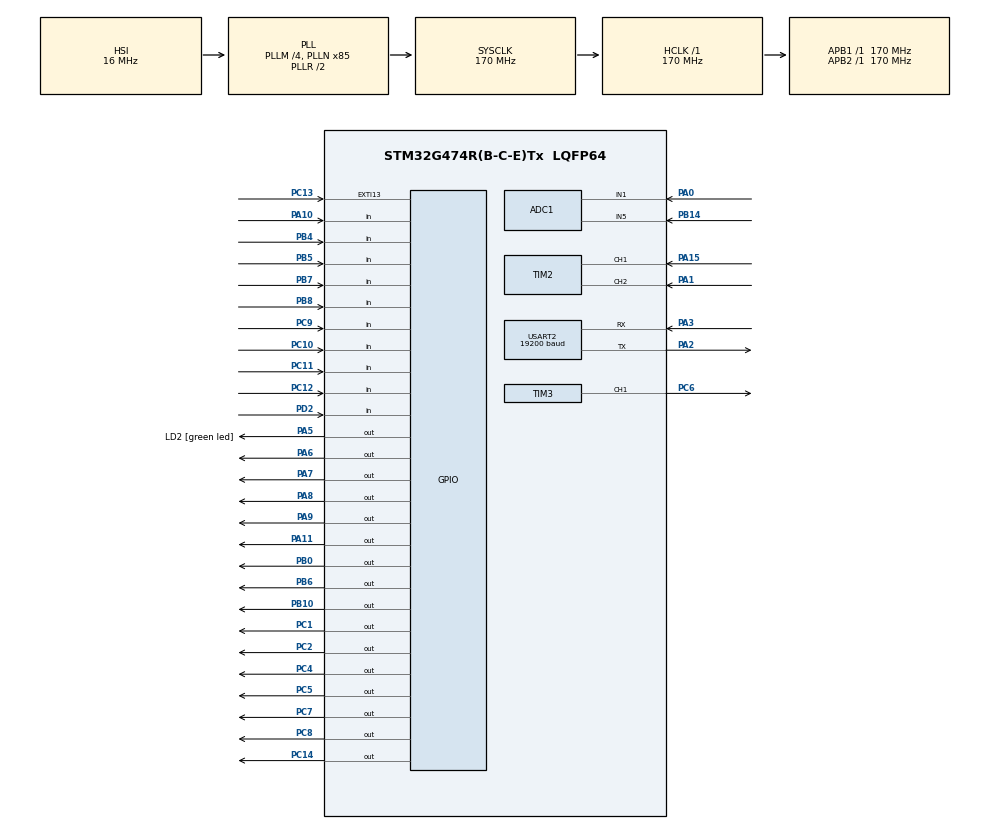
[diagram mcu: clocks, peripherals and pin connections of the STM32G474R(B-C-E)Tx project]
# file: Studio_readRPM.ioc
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ADC1.Channel-0\#ChannelRegularConversion=ADC_CHANNEL_1
ADC1.Channel-1\#ChannelRegularConversion=ADC_CHANNEL_5
ADC1.DMAContinuousRequests=ENABLE
ADC1.ExternalTrigConv=ADC_EXTERNALTRIG_T4_TRGO
ADC1.NbrOfConversion=2
ADC1.NbrOfConversionFlag=1
ADC1.OffsetNumber-0\#ChannelRegularConversion=ADC_OFFSET_NONE
ADC1.OffsetNumber-1\#ChannelRegularConversion=ADC_OFFSET_NONE
ADC1.Rank-0\#ChannelRegularConversion=1
ADC1.Rank-1\#ChannelRegularConversion=2
ADC1.SamplingTime-0\#ChannelRegularConversion=ADC_SAMPLETIME_2CYCLES_5
ADC1.SamplingTime-1\#ChannelRegularConversion=ADC_SAMPLETIME_2CYCLES_5
ADC1.master=1
ARM.CMSIS-DSP.1.15.0.CMSISJjDSP=Source
ARM.CMSIS.6.0.0.CMSISJjCORE=true
Dma.ADC1.0.Direction=DMA_PERIPH_TO_MEMORY
Dma.ADC1.0.EventEnable=DISABLE
Dma.ADC1.0.Instance=DMA2_Channel1
Dma.ADC1.0.MemDataAlignment=DMA_MDATAALIGN_HALFWORD
Dma.ADC1.0.MemInc=DMA_MINC_ENABLE
Dma.ADC1.0.Mode=DMA_CIRCULAR
Dma.ADC1.0.PeriphDataAlignment=DMA_PDATAALIGN_HALFWORD
Dma.ADC1.0.PeriphInc=DMA_PINC_DISABLE
Dma.ADC1.0.Polarity=HAL_DMAMUX_REQ_GEN_RISING
Dma.ADC1.0.Priority=DMA_PRIORITY_LOW
Dma.ADC1.0.RequestNumber=1
Dma.ADC1.0.SignalID=NONE
Dma.ADC1.0.SyncEnable=DISABLE
Dma.ADC1.0.SyncPolarity=HAL_DMAMUX_SYNC_NO_EVENT
Dma.ADC1.0.SyncRequestNumber=1
Dma.ADC1.0.SyncSignalID=NONE
Dma.Request0=ADC1
Dma.Request1=USART2_TX
Dma.Request2=USART2_RX
Dma.USART2_RX.2.Direction=DMA_PERIPH_TO_MEMORY
Dma.USART2_RX.2.EventEnable=DISABLE
Dma.USART2_RX.2.Instance=DMA1_Channel2
Dma.USART2_RX.2.MemDataAlignment=DMA_MDATAALIGN_BYTE
Dma.USART2_RX.2.MemInc=DMA_MINC_ENABLE
Dma.USART2_RX.2.Mode=DMA_NORMAL
Dma.USART2_RX.2.PeriphDataAlignment=DMA_PDATAALIGN_BYTE
Dma.USART2_RX.2.PeriphInc=DMA_PINC_DISABLE
Dma.USART2_RX.2.Polarity=HAL_DMAMUX_REQ_GEN_RISING
Dma.USART2_RX.2.Priority=DMA_PRIORITY_LOW
Dma.USART2_RX.2.RequestNumber=1
Dma.USART2_RX.2.SignalID=NONE
Dma.USART2_RX.2.SyncEnable=DISABLE
Dma.USART2_RX.2.SyncPolarity=HAL_DMAMUX_SYNC_NO_EVENT
Dma.USART2_RX.2.SyncRequestNumber=1
Dma.USART2_RX.2.SyncSignalID=NONE
Dma.USART2_TX.1.Direction=DMA_MEMORY_TO_PERIPH
Dma.USART2_TX.1.EventEnable=DISABLE
Dma.USART2_TX.1.Instance=DMA1_Channel1
Dma.USART2_TX.1.MemDataAlignment=DMA_MDATAALIGN_BYTE
Dma.USART2_TX.1.MemInc=DMA_MINC_ENABLE
Dma.USART2_TX.1.Mode=DMA_NORMAL
Dma.USART2_TX.1.PeriphDataAlignment=DMA_PDATAALIGN_BYTE
Dma.USART2_TX.1.PeriphInc=DMA_PINC_DISABLE
Dma.USART2_TX.1.Polarity=HAL_DMAMUX_REQ_GEN_RISING
Dma.USART2_TX.1.Priority=DMA_PRIORITY_LOW
Dma.USART2_TX.1.RequestNumber=1
Dma.USART2_TX.1.SignalID=NONE
Dma.USART2_TX.1.SyncEnable=DISABLE
Dma.USART2_TX.1.SyncPolarity=HAL_DMAMUX_SYNC_NO_EVENT
Dma.USART2_TX.1.SyncRequestNumber=1
Dma.USART2_TX.1.SyncSignalID=NONE
Mcu.Family=STM32G4
Mcu.Name=STM32G474R(B-C-E)Tx
Mcu.Package=LQFP64
NVIC.DMA1_Channel1_IRQn=true\:0\:0\:false\:false\:true\:false\:true\:true
NVIC.DMA1_Channel2_IRQn=true\:0\:0\:false\:false\:true\:false\:true\:true
NVIC.DMA2_Channel1_IRQn=true\:0\:0\:false\:false\:true\:false\:true\:true
NVIC.EXTI15_10_IRQn=true\:0\:0\:true\:false\:true\:true\:true\:true
NVIC.PriorityGroup=NVIC_PRIORITYGROUP_4
NVIC.TIM1_BRK_TIM15_IRQn=true\:0\:0\:false\:false\:true\:true\:true\:true
NVIC.TIM1_UP_TIM16_IRQn=true\:0\:0\:false\:false\:true\:true\:true\:true
NVIC.TIM5_IRQn=true\:0\:0\:false\:false\:true\:true\:true\:true
NVIC.TIM6_DAC_IRQn=true\:0\:0\:false\:false\:true\:true\:true\:true
NVIC.USART2_IRQn=true\:0\:0\:false\:false\:true\:true\:true\:true
PA0.Mode=IN1-Single-Ended
PA0.Signal=ADC1_IN1
PA1.Signal=S_TIM2_CH2
PA10.Signal=GPIO_Input
PA11.Signal=GPIO_Output
PA13.GPIO_Label=T_SWDIO
PA13.Mode=Trace_Asynchronous_SW
PA13.Signal=SYS_JTMS-SWDIO
PA14.GPIO_Label=T_SWCLK
PA14.Mode=Trace_Asynchronous_SW
PA14.Signal=SYS_JTCK-SWCLK
PA15.Signal=S_TIM2_CH1
PA2.Mode=Asynchronous
PA2.Signal=USART2_TX
PA3.Mode=Asynchronous
PA3.Signal=USART2_RX
PA5.GPIO_Label=LD2 [green led]
PA5.Signal=GPIO_Output
PA6.GPIO_PuPd=GPIO_PULLDOWN
PA6.Signal=GPIO_Output
PA7.Signal=GPIO_Output
PA8.Signal=GPIO_Output
PA9.Signal=GPIO_Output
PB0.Signal=GPIO_Output
PB10.Signal=GPIO_Output
PB14.Mode=IN5-Single-Ended
PB14.Signal=ADC1_IN5
PB3.GPIO_Label=T_SWO
PB3.Mode=Trace_Asynchronous_SW
PB3.Signal=SYS_JTDO-SWO
PB4.GPIO_PuPd=GPIO_PULLUP
PB4.Signal=GPIO_Input
PB5.GPIO_PuPd=GPIO_PULLUP
PB5.Signal=GPIO_Input
PB6.Signal=GPIO_Output
PB7.GPIO_PuPd=GPIO_PULLDOWN
PB7.Signal=GPIO_Input
PB8-BOOT0.Signal=GPIO_Input
PC1.Signal=GPIO_Output
PC10.Signal=GPIO_Input
PC11.GPIO_PuPd=GPIO_PULLDOWN
PC11.Signal=GPIO_Input
PC12.GPIO_PuPd=GPIO_PULLDOWN
PC12.Signal=GPIO_Input
PC13.GPIO_ModeDefaultEXTI=GPIO_MODE_IT_RISING
PC13.Signal=GPXTI13
PC14-OSC32_IN.Signal=GPIO_Output
PC15-OSC32_OUT.Signal=RCC_OSC32_OUT
PC2.Signal=GPIO_Output
PC4.Signal=GPIO_Output
PC5.Signal=GPIO_Output
PC6.Signal=S_TIM3_CH1
PC7.Signal=GPIO_Output
PC8.Signal=GPIO_Output
PC9.Signal=GPIO_Input
PD2.GPIO_PuPd=GPIO_PULLDOWN
PD2.Signal=GPIO_Input
PF0-OSC_IN.Mode=HSE-External-Oscillator
PF0-OSC_IN.Signal=RCC_OSC_IN
PF1-OSC_OUT.Mode=HSE-External-Oscillator
PF1-OSC_OUT.Signal=RCC_OSC_OUT
ProjectManager.HeapSize=0x200
ProjectManager.StackSize=0x400
ProjectManager.TargetToolchain=STM32CubeIDE
RCC.ADC12Freq_Value=170000000
RCC.ADC345Freq_Value=170000000
RCC.AHBFreq_Value=170000000
RCC.APB1Freq_Value=170000000
RCC.APB1TimFreq_Value=170000000
RCC.APB2Freq_Value=170000000
RCC.APB2TimFreq_Value=170000000
RCC.CortexFreq_Value=170000000
RCC.EXTERNAL_CLOCK_VALUE=12288000
RCC.HCLKFreq_Value=170000000
RCC.HSE_VALUE=24000000
RCC.HSI48_VALUE=48000000
RCC.HSI_VALUE=16000000
RCC.LSE_VALUE=32768
RCC.PLLM=RCC_PLLM_DIV4
RCC.PLLN=85
RCC.RTCClockSelection=RCC_RTCCLKSOURCE_LSE
RCC.SYSCLKFreq_VALUE=170000000
RCC.SYSCLKSource=RCC_SYSCLKSOURCE_PLLCLK
RCC.USBFreq_Value=170000000
RCC.VCOOutputFreq_Value=340000000
SH.S_TIM2_CH1.0=TIM2_CH1,Encoder_Interface
SH.S_TIM2_CH2.0=TIM2_CH2,Encoder_Interface
SH.S_TIM3_CH1.0=TIM3_CH1,PWM Generation1 CH1
TIM15.PeriodNoDither=999
TIM15.Prescaler=169
TIM16.Prescaler=0
TIM2.EncoderMode=TIM_ENCODERMODE_TI12
TIM2.IC1Filter=2
TIM3.Channel-PWM\ Generation1\ CH1=TIM_CHANNEL_1
TIM3.PeriodNoDither=999
TIM3.Prescaler=169
TIM3.PulseNoDither_1=500
TIM4.PeriodNoDither=9999
TIM4.Prescaler=169
TIM4.TIM_MasterOutputTrigger=TIM_TRGO_UPDATE
TIM5.Prescaler=169
TIM6.PeriodNoDither=20000
TIM6.Prescaler=1699
USART2.BaudRate=19200
USART2.Parity=PARITY_EVEN
USART2.VirtualMode-Asynchronous=VM_ASYNC
USART2.WordLength=WORDLENGTH_9B
VP_ARM.CMSIS-DSP_VS_CMSISJjDSP_1.15.0_1.15.0.Mode=CMSISJjDSP
VP_ARM.CMSIS_VS_CMSISJjCORE_6.0.0_6.0.0.Mode=CMSISJjCORE
VP_SYS_VS_DBSignals.Mode=DisableDeadBatterySignals
VP_TIM15_VS_ClockSourceINT.Mode=Internal
VP_TIM16_VS_ClockSourceINT.Mode=Enable_Timer
VP_TIM16_VS_OPM.Mode=OPM_bit
VP_TIM3_VS_ClockSourceINT.Mode=Internal
VP_TIM4_VS_ClockSourceINT.Mode=Internal
VP_TIM5_VS_ClockSourceINT.Mode=Internal
VP_TIM6_VS_ClockSourceINT.Mode=Enable_Timer
board=NUCLEO-G474RE

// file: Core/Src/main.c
/* USER CODE BEGIN Header */
/**
  ******************************************************************************
  * @file           : main.c
  * @brief          : Main program body
  ******************************************************************************
  * @attention
  *
  * Copyright (c) 2024 STMicroelectronics.
  * All rights reserved.
  *
  * This software is licensed under terms that can be found in the LICENSE file
  * in the root directory of this software component.
  * If no LICENSE file comes with this software, it is provided AS-IS.
  *
  ******************************************************************************
  */
/* USER CODE END Header */
#include "main.h"

/* USER CODE BEGIN Includes */
#include "arm_math.h"
#include "ModBusRTU.h"
#include "kalman_filter.h"
/* USER CODE END Includes */

ADC_HandleTypeDef hadc1;
DMA_HandleTypeDef hdma_adc1;

TIM_HandleTypeDef htim2;
TIM_HandleTypeDef htim3;
TIM_HandleTypeDef htim4;
TIM_HandleTypeDef htim5;
TIM_HandleTypeDef htim6;
TIM_HandleTypeDef htim15;
TIM_HandleTypeDef htim16;

UART_HandleTypeDef huart2;
DMA_HandleTypeDef hdma_usart2_tx;
DMA_HandleTypeDef hdma_usart2_rx;

/* USER CODE BEGIN PV */

//-----------------Encoder Feedback-------------------//
uint32_t QEIReadRaw;

typedef struct
{
	// for record New / Old value to calculate dx / dt
	uint32_t Position[2];
	uint64_t TimeStamp[2];
	float QEIPostion_1turn;
	float QEIAngularVelocity;
	float rad_s;
	float rpm;
	float linearPos;
	float linearVel;
	float Velocity[2];
	float linearAcc;
}QEI_StructureTypeDef;

QEI_StructureTypeDef QEIdata = {0};
//---------------------------------------------------//

//Timer
uint64_t _micros = 0;

enum
{
	NEW,OLD
};

//Read joystick manual mode
uint16_t ADCBuffer[2];
float x_position;
float temp_x=0;
float set_manual_point = 0;
uint8_t check_up = 0;
uint8_t check_down = 0;

//mode control
uint8_t mode = 4;
uint8_t mode_savestate = 4;
uint64_t start_IT = 0;

//PWM
float Vin = 0;
float Vin_old = 0;
float Vin_force = 0;
float duty_cycle = 50;

//--------------Trajectory-------------------//
//Define
float q_d_i = 0;
float q_d_max = 570; //Maximum velocity
float q_2d_max = 600; //Maximum acc
//init
float q_f = 0;
float q_i = 0;
float delta_q = 0;
//output trajectory
float ref_p = 0;
float ref_v = 0;
float ref_a = 0;
//other parameters
uint8_t calmode = 3; //stop mode
float q_f_old = 0;
float t_acc = 0;
float q_acc = 0;
float t_const = 0;
float q_const = 0;
float q_d_acc = 0;
uint64_t T_start = 0;
float t = 0;
int dir = 1;
float total_t = 0;
//---------------------------------------------//

//------------------Manual Button--------------//
//Button
uint8_t B_up = 0;
uint8_t B_down = 0;
uint8_t B_reset = 0;
uint8_t B_save = 0;
uint8_t emergency_reset = 0;

uint8_t count_save = 0;
float shelves_pos[6] = {0};
float last_shelf_save = 0;
//-------------------------------------------//

//PID
arm_pid_instance_f32 PID1 = {0}; //Control Position
arm_pid_instance_f32 PID2 = {0}; //Control Velocity
float setPosition = 0;
float setVelocity = 0;
float max_velo = 0;
float max_acc = 0;

//Sensor
int S_top = 0;
int S_down = 0;
int S_top_savestate = 0;
int S_down_savestate = 0;

int check_state_B= 0;
//------------------MODBUS-----------------------//
ModbusHandleTypedef hmodbus;
u16u8_t registerFrame[200];

//maunualadd
int check  = 0;
int check2  = 0;
int vaccum_status = 0;
int gripper_status = 0;
int check_state  = 0;

// set shelf
int Enter_click = 0;
int set_shelf_state = 0;
//set point
float set_point_modbus = 0;
int point_state_triger = 0;
int set_point_state = 0;
// set home
int set_Home_state = 0;
int Home_state_triger = 0;
//run jog
int PickOrder = 0;
int PlaceOrder = 0;
int set_jog_state = 0;
int PickArray[5] = {0};
int PlaceArray[5] = {0};

int Moving_status = 0;
int Jog_state_triger = 0;
int Jog_order = 0;
int Jog_oneloop_trigger = 0;
//---------------------------------------------//
// Noise filter
uint64_t timestamp_savestate = 0;
int64_t prev_vac_savestate = 0;
int64_t prev_grp_savestate = 0;
uint8_t trigger_savestate = 0;
int check_noise = 0;
int64_t currentTime = 0;

//-----------------Kalman_filter----------------//
// Define matrix data for Kalman filter
float32_t dt = 0.001; // 1,000 Hz
float32_t A_data[9] = {1, 0.001, 0.0000005, 0, 1, 0.001, 0, 0, 1};
float32_t B_data[3] = {0, 0, 0};
float32_t C_data[3] = {1, 0, 0};
float32_t G_data[3] = {0.0000001667, 0.0000005, 0.001};
float32_t Q_data[1] = {1}; //3
float32_t R_data[1] = {9}; //7
float32_t P_data[9] = {1, 0, 0, 0, 1, 0, 0, 0, 1};
float32_t x_data[3] = {0, 0, 0};
float32_t K_data[3]; // Kalman gain data
float32_t S_data[1]; // Innovation covariance data
float32_t temp1_data[9], temp2_data[9], temp3_data[3], temp4_data[1], temp5_data[3], temp6_data[9];

float32_t estimated_state[3];

// Create Kalman filter instance
KalmanFilter kf;

// Define control input and process noise
float32_t u_data[1] = {0};
float32_t w_data[1] = {0.207}; // Example noise, should be random in practice

//----------------------------------------------//
uint8_t emerStatus = 0;

int count_check = 0;

int check_LED = 0;

float overshootTop = 0;
float overshootDown = 600;

//Emer
uint8_t Emer_count = 0;
uint64_t Emer_timestamp = 0;

/* USER CODE END PV */

void SystemClock_Config(void);
static void MX_GPIO_Init(void);
static void MX_DMA_Init(void);
static void MX_TIM3_Init(void);
static void MX_TIM2_Init(void);
static void MX_TIM5_Init(void);
static void MX_ADC1_Init(void);
static void MX_TIM4_Init(void);
static void MX_TIM6_Init(void);
static void MX_TIM16_Init(void);
static void MX_USART2_UART_Init(void);
static void MX_TIM15_Init(void);
/* USER CODE BEGIN PFP */
uint64_t micros();
void QEIEncoderPosVel_Update();
void checkStartMoving();
void createTrajectory();
void DriveMotor();
void JoystickInput();
void button_up_down_input();
void button_reset_input();
void SoftwareLimit();

void check_vaccum_status();
void check_gripper_status();
void set_shelf();
void Pointmode();
void Home();
void Run_jog();
void Heartbeat();
void Routine();
void button_save_position();

void LED_Emergency();
void LED_Homing();
void LED_Ready();
void LED_Auto();
void LED_Manual();

void checkEmer();
/* USER CODE END PFP */

int main(void)
{

  /* MCU Configuration--------------------------------------------------------*/

  /* Reset of all peripherals, Initializes the Flash interface and the Systick. */
  HAL_Init();

  /* Configure the system clock */
  SystemClock_Config();

  /* Initialize all configured peripherals */
  MX_GPIO_Init();
  MX_DMA_Init();
  MX_TIM3_Init();
  MX_TIM2_Init();
  MX_TIM5_Init();
  MX_ADC1_Init();
  MX_TIM4_Init();
  MX_TIM6_Init();
  MX_TIM16_Init();
  MX_USART2_UART_Init();
  MX_TIM15_Init();
  /* USER CODE BEGIN 2 */

  //PWM Motor
  HAL_TIM_Base_Start(&htim3);
  HAL_TIM_PWM_Start(&htim3, TIM_CHANNEL_1);
  __HAL_TIM_SET_COMPARE(&htim3, TIM_CHANNEL_1, 0);

  //Read Encoder
  HAL_TIM_Encoder_Start(&htim2,TIM_CHANNEL_ALL);

  //time microsec
  HAL_TIM_Base_Start_IT(&htim5);

  //Read joystick
  HAL_ADC_Start_DMA(&hadc1, ADCBuffer, 2);
  HAL_TIM_Base_Start(&htim4);

  //PID Control Position
  PID1.Kp = 3.75; // 7.5
  PID1.Ki = 0; // 0.0025
  PID1.Kd = 0;
//  PID1.Ki = 0.000025; // 0.0025
//  PID1.Kd = 0.005; // 3
  arm_pid_init_f32(&PID1, 0);

  //PID Control Velocity
  PID2.Kp = 0.1; //0.3
  PID2.Ki = 0.0005; // 0.0005
  PID2.Kd = 0; // 0
  arm_pid_init_f32(&PID2, 0);

  //Modbus Setting
  // manaul add
  HAL_TIM_Base_Start_IT(&htim6);

  //  modbus
  hmodbus.huart = &huart2;
  hmodbus.htim = &htim16;
  hmodbus.slaveAddress = 0x15;
  hmodbus.RegisterSize =200;
  Modbus_init(&hmodbus, registerFrame);

  HAL_GPIO_WritePin(GPIOB, GPIO_PIN_10, 1);

  //-----Kalman filter--------//
  // Initialize the Kalman filter
  KalmanFilter_Init(&kf, A_data, B_data, C_data, G_data, Q_data, R_data, P_data, x_data, K_data, temp1_data, temp2_data, temp3_data, temp4_data, temp5_data, temp6_data, S_data);

  // Update Kalman every 0.001 s (1,000 Hz)
  HAL_TIM_Base_Start_IT(&htim15);

  LED_Ready();

  /* USER CODE END 2 */

  /* Infinite loop */
  while (1)
  {

    /* USER CODE BEGIN 3 */
	  count_check += 1;

	  //------Modbus Function------//

	  Modbus_Protocal_Worker();
	  check_vaccum_status();
	  check_gripper_status();
	  set_shelf();
	  Pointmode();
	  Home();
	  Run_jog();

//	  if(check_LED == 1){
//		  LED_Emergency();
//	  }
//	  else if(check_LED == 2){
//		  LED_Homing();
//	  }
//	  else if(check_LED == 3){
//		  LED_Ready();
//	  }
//	  else if(check_LED == 4){
//		  LED_Auto();
//	  }
//	  else if(check_LED == 5){
//		  LED_Manual();
//	  }

	  static uint64_t timestamp = 0;
	  static uint64_t timestamp2 = 0;
	  static uint64_t timestamp3 = 0;

	  currentTime = micros();

	  if(currentTime > timestamp2){
		  timestamp2 = currentTime + 167; //6,000 Hz

		  //Read encoder
		  QEIEncoderPosVel_Update();

		  //Create Trajectory
		  q_f = setPosition;
		  checkStartMoving();
		  createTrajectory();

		  if(mode == 1){
			  LED_Auto();
			  if(fabs(setPosition - QEIdata.linearPos) <= 0.09 || setPosition == 0){
				  Vin = 0;
//				  mode = 3;
//				  point_state_triger = 1;
//				  if (setPosition != 0)
//				  {
//					  mode = 3;
//				  }

			  }
//			  else if(setPosition - QEIdata.linearPos <= 5 && setPosition - QEIdata.linearPos > 0.1){
//				  Vin = 2.5;
//				  check = 1;
//			  }
//			  else if(setPosition - QEIdata.linearPos >= -5 && setPosition - QEIdata.linearPos < -0.1){
//			  	  Vin = -1.35;
//			  	  check = -1;
//			  }
			  else{
				  Vin = arm_pid_f32(&PID2, (setVelocity + ref_v)/2 - QEIdata.linearVel);
//				  Vin = arm_pid_f32(&PID2, ref_v - QEIdata.linearVel);
			  }
			  if(Vin > 24){
	  			  Vin = 24;
			  }
			  if(Vin < -24){
				  Vin = -24;
			  }
		  }
	      else if(mode == 2){ //manual (control with joy stick)
			  JoystickInput();
			  button_up_down_input();
			  button_reset_input(); //set 0;
			  button_save_position();
		  }
		  else if(mode == 3){ //stop mode
			  Vin = Vin_force;

//			  if(QEIdata.linearPos >= 40){
//				  Vin = 0;
//			  }
		  }
		  else if(mode == 4){ //Emergency mode
			  Vin = 0;
			  //LED_Emergency();

			  if(HAL_GPIO_ReadPin(GPIOD, GPIO_PIN_2) == 1){
				  mode = 2;
				  emergency_reset = 1;
			  }
		  }

		  if(mode == 1){
			  if(QEIdata.linearPos < -0.5 || QEIdata.linearPos > 550){
				  Vin = 0;
			  }
		  }
		  else{
			  //software limit
			  SoftwareLimit();
		  }

		  //Drive Motor which PWM
		  DriveMotor();

	  }

	  if(currentTime > timestamp){
		  timestamp = currentTime + 4000; //250 Hz

		  //control mode
		  if(mode == 1){ //auto
			  LED_Auto();
			  if(fabs(setPosition - QEIdata.linearPos) <= 0.1 || setPosition == 0){
				  Vin = 0;
//				  mode = 3;
//				  point_state_triger = 1;
//				  if (setPosition != 0)
//				  {
//					  mode = 3;
//				  }
			  }
//			  else if(setPosition - QEIdata.linearPos <= 5 && setPosition - QEIdata.linearPos > 0.1){
//				  Vin = 2.575;
//				  check = 1;
//			  }
//			  else if(setPosition - QEIdata.linearPos >= -5 && setPosition - QEIdata.linearPos < -0.1){
//				  Vin = -1.5;
//				  check = -1;
//			  }
			  else{
				  setVelocity = arm_pid_f32(&PID1, (setPosition + ref_p)/2 - QEIdata.linearPos);
				  Vin = arm_pid_f32(&PID2, (setVelocity + ref_v)/2 + QEIdata.linearVel);
//				  Vin = arm_pid_f32(&PID2, ref_v - QEIdata.linearVel);
			  }

			  if(Vin > 24){
				  Vin = 24;
			  }
			  if(Vin < -24){
				  Vin = -24;
			  }

			  if(QEIdata.linearPos < -0.5 || QEIdata.linearPos > 450){
			 	  Vin = 0;
			  }

			  //Drive Motor which PWM
			  DriveMotor();
		  }

	  }

//	  if((currentTime > timestamp_savestate)&& (trigger_savestate == 1)){
//		   S_top = S_top_savestate;
//		   S_down = S_down_savestate;
//		   mode = mode_savestate;
//		   trigger_savestate = 0;
//		   check_noise += 1;
//	  }

	  //Check Emergency Status

	  checkEmer();

	  if(currentTime > timestamp3){
		  timestamp3 = currentTime + 100000; //10 Hz
		  if(HAL_GPIO_ReadPin(GPIOB, GPIO_PIN_8) == 1){
			  S_top = 1;
		  }
		  else if(HAL_GPIO_ReadPin(GPIOC, GPIO_PIN_9) == 1){
			  S_down = 1;

		  }
	  }

  }

  /* USER CODE END 3 */
}

void SystemClock_Config(void)
{
  RCC_OscInitTypeDef RCC_OscInitStruct = {0};
  RCC_ClkInitTypeDef RCC_ClkInitStruct = {0};

  /** Configure the main internal regulator output voltage
  */
  HAL_PWREx_ControlVoltageScaling(PWR_REGULATOR_VOLTAGE_SCALE1_BOOST);

  /** Initializes the RCC Oscillators according to the specified parameters
  * in the RCC_OscInitTypeDef structure.
  */
  RCC_OscInitStruct.OscillatorType = RCC_OSCILLATORTYPE_HSI;
  RCC_OscInitStruct.HSIState = RCC_HSI_ON;
  RCC_OscInitStruct.HSICalibrationValue = RCC_HSICALIBRATION_DEFAULT;
  RCC_OscInitStruct.PLL.PLLState = RCC_PLL_ON;
  RCC_OscInitStruct.PLL.PLLSource = RCC_PLLSOURCE_HSI;
  RCC_OscInitStruct.PLL.PLLM = RCC_PLLM_DIV4;
  RCC_OscInitStruct.PLL.PLLN = 85;
  RCC_OscInitStruct.PLL.PLLP = RCC_PLLP_DIV2;
  RCC_OscInitStruct.PLL.PLLQ = RCC_PLLQ_DIV2;
  RCC_OscInitStruct.PLL.PLLR = RCC_PLLR_DIV2;
  if (HAL_RCC_OscConfig(&RCC_OscInitStruct) != HAL_OK)
  {
    Error_Handler();
  }

  /** Initializes the CPU, AHB and APB buses clocks
  */
  RCC_ClkInitStruct.ClockType = RCC_CLOCKTYPE_HCLK|RCC_CLOCKTYPE_SYSCLK
                              |RCC_CLOCKTYPE_PCLK1|RCC_CLOCKTYPE_PCLK2;
  RCC_ClkInitStruct.SYSCLKSource = RCC_SYSCLKSOURCE_PLLCLK;
  RCC_ClkInitStruct.AHBCLKDivider = RCC_SYSCLK_DIV1;
  RCC_ClkInitStruct.APB1CLKDivider = RCC_HCLK_DIV1;
  RCC_ClkInitStruct.APB2CLKDivider = RCC_HCLK_DIV1;

  if (HAL_RCC_ClockConfig(&RCC_ClkInitStruct, FLASH_LATENCY_4) != HAL_OK)
  {
    Error_Handler();
  }
}

static void MX_ADC1_Init(void)
{

  ADC_MultiModeTypeDef multimode = {0};
  ADC_ChannelConfTypeDef sConfig = {0};

  /** Common config
  */
  hadc1.Instance = ADC1;
  hadc1.Init.ClockPrescaler = ADC_CLOCK_SYNC_PCLK_DIV4;
  hadc1.Init.Resolution = ADC_RESOLUTION_12B;
  hadc1.Init.DataAlign = ADC_DATAALIGN_RIGHT;
  hadc1.Init.GainCompensation = 0;
  hadc1.Init.ScanConvMode = ADC_SCAN_ENABLE;
  hadc1.Init.EOCSelection = ADC_EOC_SINGLE_CONV;
  hadc1.Init.LowPowerAutoWait = DISABLE;
  hadc1.Init.ContinuousConvMode = DISABLE;
  hadc1.Init.NbrOfConversion = 2;
  hadc1.Init.DiscontinuousConvMode = DISABLE;
  hadc1.Init.ExternalTrigConv = ADC_EXTERNALTRIG_T4_TRGO;
  hadc1.Init.ExternalTrigConvEdge = ADC_EXTERNALTRIGCONVEDGE_RISING;
  hadc1.Init.DMAContinuousRequests = ENABLE;
  hadc1.Init.Overrun = ADC_OVR_DATA_PRESERVED;
  hadc1.Init.OversamplingMode = DISABLE;
  if (HAL_ADC_Init(&hadc1) != HAL_OK)
  {
    Error_Handler();
  }

  /** Configure the ADC multi-mode
  */
  multimode.Mode = ADC_MODE_INDEPENDENT;
  if (HAL_ADCEx_MultiModeConfigChannel(&hadc1, &multimode) != HAL_OK)
  {
    Error_Handler();
  }

  /** Configure Regular Channel
  */
  sConfig.Channel = ADC_CHANNEL_1;
  sConfig.Rank = ADC_REGULAR_RANK_1;
  sConfig.SamplingTime = ADC_SAMPLETIME_2CYCLES_5;
  sConfig.SingleDiff = ADC_SINGLE_ENDED;
  sConfig.OffsetNumber = ADC_OFFSET_NONE;
  sConfig.Offset = 0;
  if (HAL_ADC_ConfigChannel(&hadc1, &sConfig) != HAL_OK)
  {
    Error_Handler();
  }

  /** Configure Regular Channel
  */
  sConfig.Channel = ADC_CHANNEL_5;
  sConfig.Rank = ADC_REGULAR_RANK_2;
  if (HAL_ADC_ConfigChannel(&hadc1, &sConfig) != HAL_OK)
  {
    Error_Handler();
  }

}

static void MX_TIM2_Init(void)
{

  TIM_Encoder_InitTypeDef sConfig = {0};
  TIM_MasterConfigTypeDef sMasterConfig = {0};

  htim2.Instance = TIM2;
  htim2.Init.Prescaler = 0;
  htim2.Init.CounterMode = TIM_COUNTERMODE_UP;
  htim2.Init.Period = 4294967295;
  htim2.Init.ClockDivision = TIM_CLOCKDIVISION_DIV1;
  htim2.Init.AutoReloadPreload = TIM_AUTORELOAD_PRELOAD_DISABLE;
  sConfig.EncoderMode = TIM_ENCODERMODE_TI12;
  sConfig.IC1Polarity = TIM_ICPOLARITY_RISING;
  sConfig.IC1Selection = TIM_ICSELECTION_DIRECTTI;
  sConfig.IC1Prescaler = TIM_ICPSC_DIV1;
  sConfig.IC1Filter = 2;
  sConfig.IC2Polarity = TIM_ICPOLARITY_RISING;
  sConfig.IC2Selection = TIM_ICSELECTION_DIRECTTI;
  sConfig.IC2Prescaler = TIM_ICPSC_DIV1;
  sConfig.IC2Filter = 0;
  if (HAL_TIM_Encoder_Init(&htim2, &sConfig) != HAL_OK)
  {
    Error_Handler();
  }
  sMasterConfig.MasterOutputTrigger = TIM_TRGO_RESET;
  sMasterConfig.MasterSlaveMode = TIM_MASTERSLAVEMODE_DISABLE;
  if (HAL_TIMEx_MasterConfigSynchronization(&htim2, &sMasterConfig) != HAL_OK)
  {
    Error_Handler();
  }

}

static void MX_TIM3_Init(void)
{

  TIM_ClockConfigTypeDef sClockSourceConfig = {0};
  TIM_MasterConfigTypeDef sMasterConfig = {0};
  TIM_OC_InitTypeDef sConfigOC = {0};

  htim3.Instance = TIM3;
  htim3.Init.Prescaler = 169;
  htim3.Init.CounterMode = TIM_COUNTERMODE_UP;
  htim3.Init.Period = 999;
  htim3.Init.ClockDivision = TIM_CLOCKDIVISION_DIV1;
  htim3.Init.AutoReloadPreload = TIM_AUTORELOAD_PRELOAD_DISABLE;
  if (HAL_TIM_Base_Init(&htim3) != HAL_OK)
  {
    Error_Handler();
  }
  sClockSourceConfig.ClockSource = TIM_CLOCKSOURCE_INTERNAL;
  if (HAL_TIM_ConfigClockSource(&htim3, &sClockSourceConfig) != HAL_OK)
  {
    Error_Handler();
  }
  if (HAL_TIM_PWM_Init(&htim3) != HAL_OK)
  {
    Error_Handler();
  }
  sMasterConfig.MasterOutputTrigger = TIM_TRGO_RESET;
  sMasterConfig.MasterSlaveMode = TIM_MASTERSLAVEMODE_DISABLE;
  if (HAL_TIMEx_MasterConfigSynchronization(&htim3, &sMasterConfig) != HAL_OK)
  {
    Error_Handler();
  }
  sConfigOC.OCMode = TIM_OCMODE_PWM1;
  sConfigOC.Pulse = 500;
  sConfigOC.OCPolarity = TIM_OCPOLARITY_HIGH;
  sConfigOC.OCFastMode = TIM_OCFAST_DISABLE;
  if (HAL_TIM_PWM_ConfigChannel(&htim3, &sConfigOC, TIM_CHANNEL_1) != HAL_OK)
  {
    Error_Handler();
  }
  HAL_TIM_MspPostInit(&htim3);

}

static void MX_TIM4_Init(void)
{

  TIM_ClockConfigTypeDef sClockSourceConfig = {0};
  TIM_MasterConfigTypeDef sMasterConfig = {0};

  htim4.Instance = TIM4;
  htim4.Init.Prescaler = 169;
  htim4.Init.CounterMode = TIM_COUNTERMODE_UP;
  htim4.Init.Period = 9999;
  htim4.Init.ClockDivision = TIM_CLOCKDIVISION_DIV1;
  htim4.Init.AutoReloadPreload = TIM_AUTORELOAD_PRELOAD_DISABLE;
  if (HAL_TIM_Base_Init(&htim4) != HAL_OK)
  {
    Error_Handler();
  }
  sClockSourceConfig.ClockSource = TIM_CLOCKSOURCE_INTERNAL;
  if (HAL_TIM_ConfigClockSource(&htim4, &sClockSourceConfig) != HAL_OK)
  {
    Error_Handler();
  }
  sMasterConfig.MasterOutputTrigger = TIM_TRGO_UPDATE;
  sMasterConfig.MasterSlaveMode = TIM_MASTERSLAVEMODE_DISABLE;
  if (HAL_TIMEx_MasterConfigSynchronization(&htim4, &sMasterConfig) != HAL_OK)
  {
    Error_Handler();
  }

}

static void MX_TIM5_Init(void)
{

  TIM_ClockConfigTypeDef sClockSourceConfig = {0};
  TIM_MasterConfigTypeDef sMasterConfig = {0};

  htim5.Instance = TIM5;
  htim5.Init.Prescaler = 169;
  htim5.Init.CounterMode = TIM_COUNTERMODE_UP;
  htim5.Init.Period = 4294967295;
  htim5.Init.ClockDivision = TIM_CLOCKDIVISION_DIV1;
  htim5.Init.AutoReloadPreload = TIM_AUTORELOAD_PRELOAD_DISABLE;
  if (HAL_TIM_Base_Init(&htim5) != HAL_OK)
  {
    Error_Handler();
  }
  sClockSourceConfig.ClockSource = TIM_CLOCKSOURCE_INTERNAL;
  if (HAL_TIM_ConfigClockSource(&htim5, &sClockSourceConfig) != HAL_OK)
  {
    Error_Handler();
  }
  sMasterConfig.MasterOutputTrigger = TIM_TRGO_RESET;
  sMasterConfig.MasterSlaveMode = TIM_MASTERSLAVEMODE_DISABLE;
  if (HAL_TIMEx_MasterConfigSynchronization(&htim5, &sMasterConfig) != HAL_OK)
  {
    Error_Handler();
  }

}

static void MX_TIM6_Init(void)
{

  TIM_MasterConfigTypeDef sMasterConfig = {0};

  htim6.Instance = TIM6;
  htim6.Init.Prescaler = 1699;
  htim6.Init.CounterMode = TIM_COUNTERMODE_UP;
  htim6.Init.Period = 20000;
  htim6.Init.AutoReloadPreload = TIM_AUTORELOAD_PRELOAD_DISABLE;
  if (HAL_TIM_Base_Init(&htim6) != HAL_OK)
  {
    Error_Handler();
  }
  sMasterConfig.MasterOutputTrigger = TIM_TRGO_RESET;
  sMasterConfig.MasterSlaveMode = TIM_MASTERSLAVEMODE_DISABLE;
  if (HAL_TIMEx_MasterConfigSynchronization(&htim6, &sMasterConfig) != HAL_OK)
  {
    Error_Handler();
  }

}

static void MX_TIM15_Init(void)
{

  TIM_ClockConfigTypeDef sClockSourceConfig = {0};
  TIM_MasterConfigTypeDef sMasterConfig = {0};

  htim15.Instance = TIM15;
  htim15.Init.Prescaler = 169;
  htim15.Init.CounterMode = TIM_COUNTERMODE_UP;
  htim15.Init.Period = 999;
  htim15.Init.ClockDivision = TIM_CLOCKDIVISION_DIV1;
  htim15.Init.RepetitionCounter = 0;
  htim15.Init.AutoReloadPreload = TIM_AUTORELOAD_PRELOAD_DISABLE;
  if (HAL_TIM_Base_Init(&htim15) != HAL_OK)
  {
    Error_Handler();
  }
  sClockSourceConfig.ClockSource = TIM_CLOCKSOURCE_INTERNAL;
  if (HAL_TIM_ConfigClockSource(&htim15, &sClockSourceConfig) != HAL_OK)
  {
    Error_Handler();
  }
  sMasterConfig.MasterOutputTrigger = TIM_TRGO_RESET;
  sMasterConfig.MasterSlaveMode = TIM_MASTERSLAVEMODE_DISABLE;
  if (HAL_TIMEx_MasterConfigSynchronization(&htim15, &sMasterConfig) != HAL_OK)
  {
    Error_Handler();
  }

}

static void MX_TIM16_Init(void)
{

  htim16.Instance = TIM16;
  htim16.Init.Prescaler = 0;
  htim16.Init.CounterMode = TIM_COUNTERMODE_UP;
  htim16.Init.Period = 65535;
  htim16.Init.ClockDivision = TIM_CLOCKDIVISION_DIV1;
  htim16.Init.RepetitionCounter = 0;
  htim16.Init.AutoReloadPreload = TIM_AUTORELOAD_PRELOAD_DISABLE;
  if (HAL_TIM_Base_Init(&htim16) != HAL_OK)
  {
    Error_Handler();
  }
  if (HAL_TIM_OnePulse_Init(&htim16, TIM_OPMODE_SINGLE) != HAL_OK)
  {
    Error_Handler();
  }

}

static void MX_USART2_UART_Init(void)
{

  huart2.Instance = USART2;
  huart2.Init.BaudRate = 19200;
  huart2.Init.WordLength = UART_WORDLENGTH_9B;
  huart2.Init.StopBits = UART_STOPBITS_1;
  huart2.Init.Parity = UART_PARITY_EVEN;
  huart2.Init.Mode = UART_MODE_TX_RX;
  huart2.Init.HwFlowCtl = UART_HWCONTROL_NONE;
  huart2.Init.OverSampling = UART_OVERSAMPLING_16;
  huart2.Init.OneBitSampling = UART_ONE_BIT_SAMPLE_DISABLE;
  huart2.Init.ClockPrescaler = UART_PRESCALER_DIV1;
  huart2.AdvancedInit.AdvFeatureInit = UART_ADVFEATURE_NO_INIT;
  if (HAL_UART_Init(&huart2) != HAL_OK)
  {
    Error_Handler();
  }
  if (HAL_UARTEx_SetTxFifoThreshold(&huart2, UART_TXFIFO_THRESHOLD_1_8) != HAL_OK)
  {
    Error_Handler();
  }
  if (HAL_UARTEx_SetRxFifoThreshold(&huart2, UART_RXFIFO_THRESHOLD_1_8) != HAL_OK)
  {
    Error_Handler();
  }
  if (HAL_UARTEx_DisableFifoMode(&huart2) != HAL_OK)
  {
    Error_Handler();
  }

}

static void MX_DMA_Init(void)
{

  /* DMA controller clock enable */
  __HAL_RCC_DMAMUX1_CLK_ENABLE();
  __HAL_RCC_DMA2_CLK_ENABLE();
  __HAL_RCC_DMA1_CLK_ENABLE();

  /* DMA interrupt init */
  /* DMA1_Channel1_IRQn interrupt configuration */
  HAL_NVIC_SetPriority(DMA1_Channel1_IRQn, 0, 0);
  HAL_NVIC_EnableIRQ(DMA1_Channel1_IRQn);
  /* DMA1_Channel2_IRQn interrupt configuration */
  HAL_NVIC_SetPriority(DMA1_Channel2_IRQn, 0, 0);
  HAL_NVIC_EnableIRQ(DMA1_Channel2_IRQn);
  /* DMA2_Channel1_IRQn interrupt configuration */
  HAL_NVIC_SetPriority(DMA2_Channel1_IRQn, 0, 0);
  HAL_NVIC_EnableIRQ(DMA2_Channel1_IRQn);

}

static void MX_GPIO_Init(void)
{
  GPIO_InitTypeDef GPIO_InitStruct = {0};

  /* GPIO Ports Clock Enable */
  __HAL_RCC_GPIOC_CLK_ENABLE();
  __HAL_RCC_GPIOF_CLK_ENABLE();
  __HAL_RCC_GPIOA_CLK_ENABLE();
  __HAL_RCC_GPIOB_CLK_ENABLE();
  __HAL_RCC_GPIOD_CLK_ENABLE();

  /*Configure GPIO pin Output Level */
  HAL_GPIO_WritePin(GPIOC, GPIO_PIN_14|GPIO_PIN_1|GPIO_PIN_2|GPIO_PIN_4
                          |GPIO_PIN_5|GPIO_PIN_7|GPIO_PIN_8, GPIO_PIN_RESET);

  /*Configure GPIO pin Output Level */
  HAL_GPIO_WritePin(GPIOA, LD2_Pin|GPIO_PIN_6|GPIO_PIN_7|GPIO_PIN_8
                          |GPIO_PIN_9|GPIO_PIN_11, GPIO_PIN_RESET);

  /*Configure GPIO pin Output Level */
  HAL_GPIO_WritePin(GPIOB, GPIO_PIN_0|GPIO_PIN_10|GPIO_PIN_6, GPIO_PIN_RESET);

  /*Configure GPIO pin : PC13 */
  GPIO_InitStruct.Pin = GPIO_PIN_13;
  GPIO_InitStruct.Mode = GPIO_MODE_IT_RISING;
  GPIO_InitStruct.Pull = GPIO_NOPULL;
  HAL_GPIO_Init(GPIOC, &GPIO_InitStruct);

  /*Configure GPIO pins : PC14 PC1 PC2 PC4
                           PC5 PC7 PC8 */
  GPIO_InitStruct.Pin = GPIO_PIN_14|GPIO_PIN_1|GPIO_PIN_2|GPIO_PIN_4
                          |GPIO_PIN_5|GPIO_PIN_7|GPIO_PIN_8;
  GPIO_InitStruct.Mode = GPIO_MODE_OUTPUT_PP;
  GPIO_InitStruct.Pull = GPIO_NOPULL;
  GPIO_InitStruct.Speed = GPIO_SPEED_FREQ_LOW;
  HAL_GPIO_Init(GPIOC, &GPIO_InitStruct);

  /*Configure GPIO pins : LD2_Pin PA7 PA8 PA9
                           PA11 */
  GPIO_InitStruct.Pin = LD2_Pin|GPIO_PIN_7|GPIO_PIN_8|GPIO_PIN_9
                          |GPIO_PIN_11;
  GPIO_InitStruct.Mode = GPIO_MODE_OUTPUT_PP;
  GPIO_InitStruct.Pull = GPIO_NOPULL;
  GPIO_InitStruct.Speed = GPIO_SPEED_FREQ_LOW;
  HAL_GPIO_Init(GPIOA, &GPIO_InitStruct);

  /*Configure GPIO pin : PA6 */
  GPIO_InitStruct.Pin = GPIO_PIN_6;
  GPIO_InitStruct.Mode = GPIO_MODE_OUTPUT_PP;
  GPIO_InitStruct.Pull = GPIO_PULLDOWN;
  GPIO_InitStruct.Speed = GPIO_SPEED_FREQ_LOW;
  HAL_GPIO_Init(GPIOA, &GPIO_InitStruct);

  /*Configure GPIO pins : PB0 PB10 PB6 */
  GPIO_InitStruct.Pin = GPIO_PIN_0|GPIO_PIN_10|GPIO_PIN_6;
  GPIO_InitStruct.Mode = GPIO_MODE_OUTPUT_PP;
  GPIO_InitStruct.Pull = GPIO_NOPULL;
  GPIO_InitStruct.Speed = GPIO_SPEED_FREQ_LOW;
  HAL_GPIO_Init(GPIOB, &GPIO_InitStruct);

  /*Configure GPIO pins : PC9 PC10 */
  GPIO_InitStruct.Pin = GPIO_PIN_9|GPIO_PIN_10;
  GPIO_InitStruct.Mode = GPIO_MODE_INPUT;
  GPIO_InitStruct.Pull = GPIO_NOPULL;
  HAL_GPIO_Init(GPIOC, &GPIO_InitStruct);

  /*Configure GPIO pin : PA10 */
  GPIO_InitStruct.Pin = GPIO_PIN_10;
  GPIO_InitStruct.Mode = GPIO_MODE_INPUT;
  GPIO_InitStruct.Pull = GPIO_NOPULL;
  HAL_GPIO_Init(GPIOA, &GPIO_InitStruct);

  /*Configure GPIO pins : PC11 PC12 */
  GPIO_InitStruct.Pin = GPIO_PIN_11|GPIO_PIN_12;
  GPIO_InitStruct.Mode = GPIO_MODE_INPUT;
  GPIO_InitStruct.Pull = GPIO_PULLDOWN;
  HAL_GPIO_Init(GPIOC, &GPIO_InitStruct);

  /*Configure GPIO pin : PD2 */
  GPIO_InitStruct.Pin = GPIO_PIN_2;
  GPIO_InitStruct.Mode = GPIO_MODE_INPUT;
  GPIO_InitStruct.Pull = GPIO_PULLDOWN;
  HAL_GPIO_Init(GPIOD, &GPIO_InitStruct);

  /*Configure GPIO pins : PB4 PB5 */
  GPIO_InitStruct.Pin = GPIO_PIN_4|GPIO_PIN_5;
  GPIO_InitStruct.Mode = GPIO_MODE_INPUT;
  GPIO_InitStruct.Pull = GPIO_PULLUP;
  HAL_GPIO_Init(GPIOB, &GPIO_InitStruct);

  /*Configure GPIO pin : PB7 */
  GPIO_InitStruct.Pin = GPIO_PIN_7;
  GPIO_InitStruct.Mode = GPIO_MODE_INPUT;
  GPIO_InitStruct.Pull = GPIO_PULLDOWN;
  HAL_GPIO_Init(GPIOB, &GPIO_InitStruct);

  /*Configure GPIO pin : PB8 */
  GPIO_InitStruct.Pin = GPIO_PIN_8;
  GPIO_InitStruct.Mode = GPIO_MODE_INPUT;
  GPIO_InitStruct.Pull = GPIO_NOPULL;
  HAL_GPIO_Init(GPIOB, &GPIO_InitStruct);

  /* EXTI interrupt init*/
  HAL_NVIC_SetPriority(EXTI15_10_IRQn, 0, 0);
  HAL_NVIC_EnableIRQ(EXTI15_10_IRQn);

}

/* USER CODE BEGIN 4 */
//MicroSecondTimer Implement
void HAL_TIM_PeriodElapsedCallback(TIM_HandleTypeDef *htim)
{
	if(htim == &htim5)
	{
		_micros += 1;
	}
//	 Check which version of the timer triggered this callback and toggle LED
	if(htim == &htim6)
	{
	    //check2 +=1;
		Heartbeat();
		Routine();
	}
	//timer IT update Kalman filter
	if(htim == &htim15)
	{
		// Read sensor data or get measurements
		float32_t y_data[1] = {QEIdata.linearPos};

		// Prediction step
		KalmanFilter_Predict(&kf, u_data, w_data);

		// Update step
		KalmanFilter_Update(&kf, y_data);

		// Use the updated state estimate (kf.x) as needed
		estimated_state[0] = kf.x.pData[0]; // Position
		estimated_state[1] = kf.x.pData[1]; // Velocity
		estimated_state[2] = kf.x.pData[2]; // Acceleration

	}
}

uint64_t micros()
{
	return __HAL_TIM_GET_COUNTER(&htim5)+((_micros - 1) * 2,147,483,647);
}

void QEIEncoderPosVel_Update()
{
	//collect data
	QEIdata.TimeStamp[NEW] = micros();
	QEIdata.Position[NEW] = __HAL_TIM_GET_COUNTER(&htim2);
	//Postion 1 turn calculation
	QEIdata.QEIPostion_1turn = QEIdata.Position[NEW] % 8192;
	//calculate dx
	int32_t diffPosition = QEIdata.Position[NEW] - QEIdata.Position[OLD];
	//Handle Warp around
	if(diffPosition > UINT32_MAX/2)
		diffPosition -=UINT32_MAX;
	if(diffPosition < -UINT32_MAX/2)
		diffPosition +=UINT32_MAX;
	//calculate dt
	float diffTime = (QEIdata.TimeStamp[NEW]-QEIdata.TimeStamp[OLD]) * 0.000001; //sec
	//calculate anglar velocity
	QEIdata.QEIAngularVelocity = diffPosition / diffTime;  //pulse/sec

	QEIdata.rad_s = (QEIdata.QEIAngularVelocity*2*3.14)/8192;
	QEIdata.rpm = (QEIdata.QEIAngularVelocity*60)/8192;
	QEIdata.linearVel = (QEIdata.QEIAngularVelocity*10)/8192; //velocity (mm/s)
	QEIdata.Velocity[NEW] = QEIdata.linearVel;
	QEIdata.linearAcc = (QEIdata.Velocity[NEW]-QEIdata.Velocity[OLD])/diffTime; //(mm/s^2)

	if(QEIdata.Position[NEW] < 2147483648){
		QEIdata.linearPos = ((float)QEIdata.Position[NEW]*10)/8192; //position (mm)
	}
	else{
		QEIdata.linearPos = -((float)(4294967295 - QEIdata.Position[NEW])*10)/8192;
	}

	//store value for next loop
	QEIdata.Position[OLD] = QEIdata.Position[NEW];
	QEIdata.TimeStamp[OLD]=QEIdata.TimeStamp[NEW];
	QEIdata.Velocity[OLD] = QEIdata.Velocity[NEW];

	if (max_velo < QEIdata.linearVel)
	{
		max_velo = QEIdata.linearVel;
	}

	if (max_acc < QEIdata.linearAcc)
	{
		max_acc = QEIdata.linearAcc;
	}

	if(overshootTop < QEIdata.linearPos){
		overshootTop = QEIdata.linearPos;
	}
	else if(overshootDown > QEIdata.linearPos){
		overshootDown = QEIdata.linearPos;
	}
}

void HAL_GPIO_EXTI_Callback(uint16_t GPIO_Pin)
{
//	if(GPIO_Pin == GPIO_PIN_10)  //change mode IT
//	{
//		if(emerStatus == 1){
//			mode = 2;
//			emergency_reset = 1;
//		}
//	}

//	if(GPIO_Pin == GPIO_PIN_8){ //check top sensor
//		if (start_IT > 11 )
//		{
//			S_top = 1;
//		}
//
//	}
//	if(GPIO_Pin == GPIO_PIN_9){ //check down sensor
//
//		if (start_IT > 11)
//		{
//			S_down = 1;
//		}
//	}
//	if(GPIO_Pin == GPIO_PIN_10){ //check emergency
//
//		if (start_IT > 11)
//		{
//			mode = 4; //Emergency mode
//			Vin = 0;
//			__HAL_TIM_SET_COMPARE(&htim3, TIM_CHANNEL_1, 0);
//		}
//	}
	start_IT += 1;
}

//-----------------------------------Trajectory------------------------------------------//
void checkStartMoving(){
	if(q_f != q_f_old){
		q_i = q_f_old;   //Define q_i
		delta_q = q_f - q_i;
		if(delta_q < 0){
			dir = -1;
		}
		else{
			dir = 1;
		}

		float q_check = fabs(q_d_i + q_2d_max*sqrt(fabs(delta_q)/q_2d_max)*dir);

		if(q_check >= q_d_max){ //Accelerate to maximum speed
			calmode = 1;
			t_acc = fabs((q_d_max-q_d_i)/q_2d_max);
			q_acc = q_d_i*t_acc*dir + 0.5*q_2d_max*t_acc*t_acc*dir;
			t_const = fabs((q_f-q_i-2*q_acc)/q_d_max);
			q_const = q_acc + q_d_max*t_const*dir;
			total_t = 2*t_acc + t_const;
		}
		else{ //Accelerating does not reach maximum speed
			calmode = 2;
			t_acc = sqrt(fabs(delta_q)/q_2d_max);
			q_acc = q_d_i*t_acc*dir + 0.5*q_2d_max*t_acc*t_acc*dir;
			q_d_acc = q_d_i + q_2d_max*t_acc*dir;
			total_t = 2*t_acc;
		}
		T_start = micros();
		q_f_old = q_f;
	}
}

void createTrajectory(){
	if(calmode == 1){
		t = (float)(micros()-T_start)/1000000; //sec
		if((0 <= t) && (t < t_acc)){ //Acceleration Segment
			ref_p = q_i + q_d_i*t*dir + 0.5*q_2d_max*t*t*dir;
			ref_v = q_d_i + q_2d_max*t*dir;
			ref_a = q_2d_max*dir;
		}
		else if((t_acc <= t) && (t < t_acc+t_const)){ //Constant Velocity Segment
			ref_p = q_i + q_acc + q_d_max*(t-t_acc)*dir;
			ref_v = q_d_max*dir;
			ref_a = 0;
		}
		else if((t_acc+t_const <= t) && (t < 2*t_acc+t_const)){ //Deceleration Segment
			ref_p = q_i + q_const + q_d_max*(t-t_acc-t_const)*dir-0.5*q_2d_max*(t-t_acc-t_const)*(t-t_acc-t_const)*dir;
			ref_v = -q_2d_max*(t-t_acc-t_const)*dir + q_d_max*dir;
			ref_a = -q_2d_max*dir;
		}
		else{
			calmode = 3;
		}
	}
	else if(calmode == 2){
		t = (float)(micros()-T_start)/1000000; //sec
		if((0 <= t) && (t < t_acc)){ //Acceleration Segment
			ref_p = q_i + q_d_i*t*dir + 0.5*q_2d_max*t*t*dir;
			ref_v = q_d_i + q_2d_max*t*dir;
			ref_a = q_2d_max*dir;
		}
		else if((t_acc <= t) && (t < t_acc*2)){
			ref_p = q_i + q_acc + q_d_acc*(t-t_acc) - 0.5*q_2d_max*(t-t_acc)*(t-t_acc)*dir;
			ref_v = q_d_acc - q_2d_max*(t-t_acc)*dir;
			ref_a = -q_2d_max*dir;
		}
		else{
			calmode = 3;
		}
	}
	else if(calmode == 3){ //stop
		ref_p = q_f;
		ref_v = 0;
		ref_a = 0;
	}
}

//--------------------------Drive Motor----------------//

void DriveMotor(){

	//if((Vin_old < 0.3 && Vin_old>-0.3) && (Vin >= 0.3 || Vin_old <= -0.3))
//	if(Vin_old == 0 && Vin !=0 )
//	{
//		trigger_savestate = 1;
//		S_top_savestate = S_top;
//		S_down_savestate = S_down;
//		mode_savestate = mode;
//		timestamp_savestate = micros() + 50000;
//	}
	//PWM Motor
	duty_cycle = (fabs(Vin)*100)/24;
	__HAL_TIM_SET_COMPARE(&htim3, TIM_CHANNEL_1, duty_cycle*9.99);

	//Control Motor Direction
	if(Vin < 0){
		//HAL_GPIO_WritePin(GPIOC, GPIO_PIN_5, 1);
		HAL_GPIO_WritePin(GPIOB, GPIO_PIN_0, 1);
	}
	else{
		//HAL_GPIO_WritePin(GPIOC, GPIO_PIN_5, 0);
		HAL_GPIO_WritePin(GPIOB, GPIO_PIN_0, 0);
	}
//	Vin_old = Vin;
}

void SoftwareLimit(){
	if(S_top == 1 && Vin >= -2){
		Vin = 0;
	}
	else if(S_top == 1 && Vin < -2){
		S_top = 0;
	}

	if(S_down == 1 && Vin <= 2){
		Vin = 0;
	}
	else if(S_down == 1 && Vin > 2){
		S_down = 0;
	}

}

//------------------------------------Joy---------------------------------------//

void JoystickInput(){
	//Control y-axis by joy
//	Vin = (float)(ADCBuffer[1]-1850)*24/2048; //0->24V
//	if(Vin > -3 && Vin < 3){
//		Vin = 0;
//	}

	//Control x-axis by joy
//	x_position += ((ADCBuffer[0]-2048)*0.005);
	if (ADCBuffer[1]>=2600)
	{
		temp_x = (float)(ADCBuffer[0]);
		x_position += (temp_x/4096)*0.05;
	}
	else if (ADCBuffer[1] <= 1800)
	{

		temp_x = (float)(ADCBuffer[0]);
		x_position -= (temp_x/4096)*0.05;
	}
}

void button_up_down_input(){
	//check button up
	if(HAL_GPIO_ReadPin(GPIOC, GPIO_PIN_11) == 1){
		set_manual_point = QEIdata.linearPos + 1; //stem 10 mm
		check_up = 1;
		B_up = 1;
		check_state_B = 1;
	}
	else{
		B_up = 0;
		check_state_B = 2;
	}
	if(QEIdata.linearPos < set_manual_point && check_up == 1){
		//Vin = 4;
		Vin = 4;
		check_state_B = 3;
	}
	else{
		check_up = 0;
		check_state_B = 4;
	}

	//check button down
	if(HAL_GPIO_ReadPin(GPIOC, GPIO_PIN_12) == 1){
		set_manual_point = QEIdata.linearPos - 1;
		check_down = 1;
		B_down = 1;
		check_state_B = 5;
	}
	else{
		B_down = 0;
		check_state_B = 6;
	}
	if(QEIdata.linearPos > set_manual_point && check_down == 1){
		//Vin = -3;
		Vin = -3;
		check_state_B = 7;
	}
	else{
		check_down = 0;
		check_state_B = 8;
	}

	if(check_up == 0 && check_down == 0){
		Vin = 0;
	}
}

void button_reset_input(){
	//check button reset
	if(HAL_GPIO_ReadPin(GPIOD, GPIO_PIN_2) == 1 || (Home_state_triger == 0 && set_Home_state == 1) || emergency_reset == 1){
		B_reset = 1;
		again:
		S_top = 0;
		S_down = 0;
		while(HAL_GPIO_ReadPin(GPIOC, GPIO_PIN_9) == 0){
			Modbus_Protocal_Worker();
			Vin = -3.5;
			//Vin = -5;
			//software limit
			//SoftwareLimit();
			//Drive Motor which PWM
			DriveMotor();
		}

		Vin = 2.1;
		//Vin = 2.5;
		DriveMotor();
		HAL_Delay(1000);
		//SoftwareLimit();

		while(HAL_GPIO_ReadPin(GPIOC, GPIO_PIN_9) == 0){
			if(HAL_GPIO_ReadPin(GPIOD, GPIO_PIN_2) == 1){
				goto again;
			}
			Modbus_Protocal_Worker();
			Vin = -1.8;
			//Vin = -3;
			//software limit
			//SoftwareLimit();
			//Drive Motor which PWM
			DriveMotor();
		}
		Vin = 0;
		HAL_Delay(500);
		__HAL_TIM_SET_COUNTER(&htim2, 0); //set position to 0

		//Reset Parameters
		setPosition = 0;
		S_top = 0;
		S_down = 1;
		emerStatus = 0;
		check_up = 0;
		check_down = 0;
		Jog_state_triger = 0;
		set_jog_state = 0;
		set_point_state = 0;
		point_state_triger = 0;

		if(Home_state_triger == 0 && set_Home_state == 1){
			Home_state_triger = 1;
			B_reset = 0;
		}

		if(emergency_reset == 1){
			emergency_reset = 0;

		}
		LED_Ready();
	}
	else{
		B_reset = 0;
	}
}

void button_save_position(){
	if(HAL_GPIO_ReadPin(GPIOB, GPIO_PIN_7) == 1 && B_save == 0 && fabs(QEIdata.linearPos-last_shelf_save) > 20){
		B_save = 1;
		count_save += 1;
		shelves_pos[count_save] = QEIdata.linearPos;
		last_shelf_save =  QEIdata.linearPos;
	}
	else{
		B_save = 0;
	}
}

//-------------------------------------------------//
//-------------------------MODBUS FUNCTIONS--------------------------//
void Heartbeat(){
	registerFrame[0x00].U16 = 22881;
}

void Routine(){
		if(HAL_GPIO_ReadPin(GPIOB, GPIO_PIN_4) == 1 && HAL_GPIO_ReadPin(GPIOB, GPIO_PIN_5) == 0){
			gripper_status = 0;
		}
		else if(HAL_GPIO_ReadPin(GPIOB, GPIO_PIN_4) == 0 && HAL_GPIO_ReadPin(GPIOB, GPIO_PIN_5) == 1){
			gripper_status = 1;
		}
		if (gripper_status == 0 ) // not suck  in
		{
			registerFrame[0x04].U16 = 0b0000;
			registerFrame[0x04].U16 = 0b0001;
		}
		else if (gripper_status == 1) // suck in
		{
			registerFrame[0x04].U16 = 0b0000;
			registerFrame[0x04].U16 = 0b0010;
		}
		registerFrame[0x10].U16 = Moving_status;
		registerFrame[0x11].U16 = QEIdata.linearPos*10;
		registerFrame[0x12].U16 = QEIdata.linearVel;
		registerFrame[0x13].U16 = QEIdata.linearAcc;
		registerFrame[0x40].U16 = x_position;
}

void check_vaccum_status()
{
	check_state = 1;
	if(registerFrame[0x02].U16 == 0b0000){ // not suck  in

		vaccum_status = 0;
		if (prev_vac_savestate != vaccum_status)
			{
				trigger_savestate = 1;
				S_top_savestate = S_top;
				S_down_savestate = S_down;
				mode_savestate = mode;
				timestamp_savestate = micros() + 500000;
			}
//		HAL_Delay(50);
		//HAL_GPIO_WritePin(GPIOA, GPIO_PIN_11, 1);
		HAL_GPIO_WritePin(GPIOB, GPIO_PIN_10, 1);
	}
	if(registerFrame[0x02].U16 == 0b0001){ //suck  in
		vaccum_status = 1;
		if (prev_vac_savestate != vaccum_status)
			{
				trigger_savestate = 1;
				S_top_savestate = S_top;
				S_down_savestate = S_down;
				mode_savestate = mode;
				timestamp_savestate = micros() + 500000;
			}
		//HAL_GPIO_WritePin(GPIOA, GPIO_PIN_11, 0);
		HAL_GPIO_WritePin(GPIOB, GPIO_PIN_10, 0);
	}

	prev_vac_savestate = vaccum_status;
}

void check_gripper_status()
{
	check_state = 2;

	if(registerFrame[0x03].U16 == 0b0000) //backward ,not on
	//if(test_Gripper == 0)
	{

		gripper_status = 0;

		if (prev_grp_savestate != gripper_status)
			{
					trigger_savestate = 1;
					S_top_savestate = S_top;
					S_down_savestate = S_down;
					mode_savestate = mode;
					timestamp_savestate = micros() + 500000;
			}
		HAL_GPIO_WritePin(GPIOA, GPIO_PIN_8, 0);
		HAL_GPIO_WritePin(GPIOC, GPIO_PIN_8, 1);
	}
	if(registerFrame[0x03].U16 == 0b0001) //Forward
	//if(test_Gripper == 1)
	{
		gripper_status = 1;

		if (prev_grp_savestate != gripper_status)
			{
					trigger_savestate = 1;
					S_top_savestate = S_top;
					S_down_savestate = S_down;
					mode_savestate = mode;
					timestamp_savestate = micros() + 500000;
			}

		HAL_GPIO_WritePin(GPIOA, GPIO_PIN_8, 1);
		HAL_GPIO_WritePin(GPIOC, GPIO_PIN_8, 0);
	}

	prev_grp_savestate = gripper_status;
}

void set_shelf()
{
	check_state = 3;
	if(registerFrame[0x01].U16 ==  0b0001)
	{
		set_shelf_state = 1;
		LED_Manual();
	}
	if (set_shelf_state == 1 && Enter_click == 0)
	{
			registerFrame[0x01].U16 = 0b0000;
			Moving_status = 1;
			registerFrame[0x10].U16 = Moving_status; // set shelve
			mode = 2; //manual
			if(count_save == 5){
				Enter_click = 1;
				count_save = 0;
				mode = 3;
			}
	}
	if (set_shelf_state == 1 && Enter_click == 1)
	{
		registerFrame[0x01].U16 = 0b0000;
		registerFrame[0x23].U16 = shelves_pos[1]*10;
		registerFrame[0x24].U16 = shelves_pos[2]*10;
		registerFrame[0x25].U16 = shelves_pos[3]*10;
		registerFrame[0x26].U16 = shelves_pos[4]*10;
		registerFrame[0x27].U16 = shelves_pos[5]*10;
		Moving_status = 0;
		registerFrame[0x10].U16 = Moving_status;
		set_shelf_state = 0;
		Enter_click = 0;
		LED_Ready();
	}

}

void Pointmode()
{
	if(registerFrame[0x01].U16 ==  0b1000) // Run Point Mode
		{
			 set_point_state = 1;
			 set_point_modbus = (registerFrame[0x30].U16) / 10;
			 registerFrame[0x01].U16 = 0b0000;
			 overshootTop = 0;
			 overshootDown = 600;
			 max_velo = 0;
			 max_acc = 0;
			 LED_Auto();
//			 Modbus_Protocal_Worker();
		}

	if (point_state_triger == 0 && set_point_state == 1)
		{
				Moving_status = 16;
				registerFrame[0x10].U16 = Moving_status;
				mode = 1;
				setPosition = set_point_modbus;
				if(fabs(setPosition-QEIdata.linearPos) <= 0.09){
					mode = 3;
					point_state_triger = 1;
				}
				Modbus_Protocal_Worker();
		}
	if (point_state_triger == 1 && set_point_state == 1)
		{
			mode = 3;
			Moving_status = 0;
			registerFrame[0x10].U16 = Moving_status;
			set_point_state = 0;
			point_state_triger = 0;
//			set_point_modbus = 0;
			Modbus_Protocal_Worker();
			LED_Ready();
//
		}
}
void Home()
{
	if(registerFrame[0x01].U16 ==  0b0010) // Run Home Mode
	{
		set_Home_state = 1;
		registerFrame[0x01].U16 = 0b0000;
		LED_Homing();
//		Modbus_Protocal_Worker();
	}
	if(Home_state_triger == 0 && set_Home_state == 1)
	{
		Moving_status = 2;
		registerFrame[0x10].U16 = Moving_status;
		//set home
		mode = 2;
//		Modbus_Protocal_Worker();
	}
	if(Home_state_triger == 1 && set_Home_state == 1)
	{
		mode = 3;
		Moving_status = 0;
		registerFrame[0x10].U16 = Moving_status;
		set_Home_state = 0;
		Home_state_triger = 0;
//		Modbus_Protocal_Worker();
		LED_Ready();
	}
}
void Run_jog()
{
	if(registerFrame[0x01].U16 ==  0b0100) // Run Jog Mode
	{
		set_jog_state = 1;
		Jog_state_triger = 0;
		Jog_oneloop_trigger = 0;
		Jog_order = 0;

		PickOrder = registerFrame[0x21].U16;
		PlaceOrder = registerFrame[0x22].U16;

		PickArray[0] = (PickOrder - (PickOrder % 10000)) / 10000;
		PickArray[1] = ((PickOrder % 10000) - (PickOrder % 1000)) / 1000;
		PickArray[2] = ((PickOrder % 1000) - (PickOrder % 100)) / 100;
		PickArray[3] = ((PickOrder % 100) - (PickOrder % 10)) / 10;
		PickArray[4] = PickOrder % 10;

		PlaceArray[0] = (PlaceOrder - (PlaceOrder % 10000)) / 10000;
		PlaceArray[1] = ((PlaceOrder % 10000) - (PlaceOrder % 1000)) / 1000;
		PlaceArray[2] = ((PlaceOrder % 1000) - (PlaceOrder % 100)) / 100;
		PlaceArray[3] = ((PlaceOrder % 100) - (PlaceOrder % 10)) / 10;
		PlaceArray[4] = PlaceOrder % 10;

		registerFrame[0x01].U16 = 0b0000;
		LED_Auto();

	}
	if (Jog_state_triger == 0 && set_jog_state == 1){

		// run 5 loop of pick and place

		if(Jog_oneloop_trigger == 0){ //Go pick
			Moving_status = 4; //Go pick
			registerFrame[0x10].U16 =  Moving_status;

			mode = 1;
			setPosition = shelves_pos[PickArray[Jog_order]]-10; //Update set point

			if(fabs(setPosition-QEIdata.linearPos) < 0.09){
					mode = 3;
					Vin = 0;
					__HAL_TIM_SET_COMPARE(&htim3, TIM_CHANNEL_1, 0);

					//pick
					HAL_GPIO_WritePin(GPIOA, GPIO_PIN_8, 0);
					HAL_GPIO_WritePin(GPIOC, GPIO_PIN_8, 1);
					HAL_Delay(750);

					HAL_GPIO_WritePin(GPIOB, GPIO_PIN_10, 1);
					HAL_Delay(500);

					HAL_GPIO_WritePin(GPIOA, GPIO_PIN_8, 1);
					HAL_GPIO_WritePin(GPIOC, GPIO_PIN_8, 0);
					HAL_Delay(750);

					Jog_oneloop_trigger = 1;
					setPosition = QEIdata.linearPos;
			}
		}
		else if(Jog_oneloop_trigger == 1){ //Go place
			Moving_status = 8; //Go place
			registerFrame[0x10].U16 =  Moving_status;

			mode = 1;
			setPosition = shelves_pos[PlaceArray[Jog_order]]+10; //Update set point

			if(fabs(setPosition-QEIdata.linearPos) < 0.09){
					mode = 3;
					Vin = 0;
					__HAL_TIM_SET_COMPARE(&htim3, TIM_CHANNEL_1, 0);

					//place
					HAL_GPIO_WritePin(GPIOA, GPIO_PIN_8, 0);
					HAL_GPIO_WritePin(GPIOC, GPIO_PIN_8, 1);
					HAL_Delay(750);

					HAL_GPIO_WritePin(GPIOB, GPIO_PIN_10, 0);
					HAL_Delay(500);

					HAL_GPIO_WritePin(GPIOA, GPIO_PIN_8, 1);
					HAL_GPIO_WritePin(GPIOC, GPIO_PIN_8, 0);
					HAL_Delay(750);

					Jog_order += 1;
					Jog_oneloop_trigger = 0;
					setPosition = QEIdata.linearPos;
			}
		}

		if(Jog_order == 5){
			mode = 3;
			Jog_state_triger = 1;
			Jog_order = 0;
		}
	}

	if (Jog_state_triger == 1 && set_jog_state == 1)
	{
		Moving_status = 0;
		registerFrame[0x10].U16 =  Moving_status;
		Jog_state_triger = 0;
		set_jog_state = 0;
		LED_Ready();
	}
}
//-----------------------------------------------------------//

//-----------------------LED STATUS--------------------------//

void LED_Emergency(){
	HAL_GPIO_WritePin(GPIOC, GPIO_PIN_2, 0);
	HAL_GPIO_WritePin(GPIOA, GPIO_PIN_7, 1);
	HAL_GPIO_WritePin(GPIOB, GPIO_PIN_6, 1);
	HAL_GPIO_WritePin(GPIOC, GPIO_PIN_7, 1);
	HAL_GPIO_WritePin(GPIOA, GPIO_PIN_9, 1);
}

void LED_Homing(){
	HAL_GPIO_WritePin(GPIOC, GPIO_PIN_2, 1);
	HAL_GPIO_WritePin(GPIOA, GPIO_PIN_7, 1);
	HAL_GPIO_WritePin(GPIOB, GPIO_PIN_6, 1);
	HAL_GPIO_WritePin(GPIOC, GPIO_PIN_7, 0);
	HAL_GPIO_WritePin(GPIOA, GPIO_PIN_9, 1);
}

void LED_Ready(){
	HAL_GPIO_WritePin(GPIOC, GPIO_PIN_2, 1);
	HAL_GPIO_WritePin(GPIOA, GPIO_PIN_7, 1);
	HAL_GPIO_WritePin(GPIOB, GPIO_PIN_6, 1);
	HAL_GPIO_WritePin(GPIOC, GPIO_PIN_7, 1);
	HAL_GPIO_WritePin(GPIOA, GPIO_PIN_9, 0);
}

void LED_Auto(){
	HAL_GPIO_WritePin(GPIOC, GPIO_PIN_2, 1);
	HAL_GPIO_WritePin(GPIOA, GPIO_PIN_7, 0);
	HAL_GPIO_WritePin(GPIOB, GPIO_PIN_6, 1);
	HAL_GPIO_WritePin(GPIOC, GPIO_PIN_7, 1);
	HAL_GPIO_WritePin(GPIOA, GPIO_PIN_9, 1);

}

void LED_Manual(){
	HAL_GPIO_WritePin(GPIOC, GPIO_PIN_2, 1);
	HAL_GPIO_WritePin(GPIOA, GPIO_PIN_7, 1);
	HAL_GPIO_WritePin(GPIOB, GPIO_PIN_6, 0);
	HAL_GPIO_WritePin(GPIOC, GPIO_PIN_7, 1);
	HAL_GPIO_WritePin(GPIOA, GPIO_PIN_9, 1);
}

void checkEmer(){
	//Check Emergency Status
	if(HAL_GPIO_ReadPin(GPIOA, GPIO_PIN_10) == 1){
		Emer_count += 1;
		if(Emer_count == 1){
			Emer_timestamp = micros() + 5000000;
		}
		else if(micros()>Emer_timestamp && HAL_GPIO_ReadPin(GPIOA, GPIO_PIN_10) == 1){
			emerStatus = 1;
			mode = 4;
			Vin = 0;
			__HAL_TIM_SET_COMPARE(&htim3, TIM_CHANNEL_1, 0);
			LED_Emergency();
		}
	}
	while(emerStatus == 1){
		Modbus_Protocal_Worker();
		if(HAL_GPIO_ReadPin(GPIOD, GPIO_PIN_2) == 1){
			 emergency_reset = 1;
			 button_reset_input();
			 emerStatus = 0;
			 Emer_count = 0;
		}
	}
}

//-----------------------------------------------------------//

/* USER CODE END 4 */

void Error_Handler(void)
{
  __disable_irq();
  while (1)
  {
  }
}
